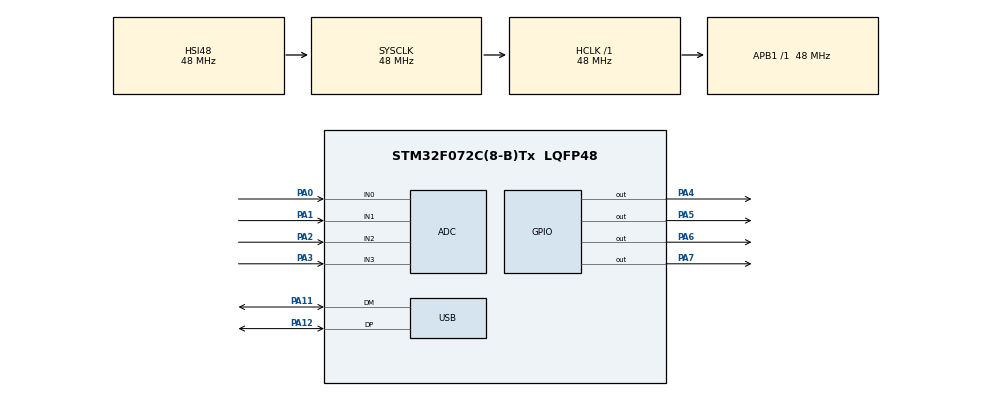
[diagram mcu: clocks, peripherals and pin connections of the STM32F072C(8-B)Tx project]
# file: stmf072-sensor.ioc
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ADC.DMAContinuousRequests=DISABLE
Dma.ADC.0.Direction=DMA_PERIPH_TO_MEMORY
Dma.ADC.0.Instance=DMA1_Channel2
Dma.ADC.0.MemDataAlignment=DMA_MDATAALIGN_HALFWORD
Dma.ADC.0.MemInc=DMA_MINC_ENABLE
Dma.ADC.0.Mode=DMA_CIRCULAR
Dma.ADC.0.PeriphDataAlignment=DMA_PDATAALIGN_HALFWORD
Dma.ADC.0.PeriphInc=DMA_PINC_DISABLE
Dma.ADC.0.Priority=DMA_PRIORITY_VERY_HIGH
Dma.Request0=ADC
Mcu.Family=STM32F0
Mcu.Name=STM32F072C(8-B)Tx
Mcu.Package=LQFP48
NVIC.DMA1_Channel2_3_IRQn=true\:0\:0\:false\:false\:true\:false\:true\:true
NVIC.USB_IRQn=true\:0\:0\:false\:false\:true\:false\:true\:true
PA0.Mode=IN0
PA0.Signal=ADC_IN0
PA1.Mode=IN1
PA1.Signal=ADC_IN1
PA11.Mode=Device
PA11.Signal=USB_DM
PA12.Mode=Device
PA12.Signal=USB_DP
PA2.Mode=IN2
PA2.Signal=ADC_IN2
PA3.Mode=IN3
PA3.Signal=ADC_IN3
PA4.Signal=GPIO_Output
PA5.Signal=GPIO_Output
PA6.Signal=GPIO_Output
PA7.Signal=GPIO_Output
ProjectManager.HeapSize=0x200
ProjectManager.StackSize=0x400
ProjectManager.TargetToolchain=STM32CubeIDE
RCC.AHBFreq_Value=48000000
RCC.APB1Freq_Value=48000000
RCC.APB1TimFreq_Value=48000000
RCC.HCLKFreq_Value=48000000
RCC.HSE_VALUE=12000000
RCC.PLLMUL=RCC_PLL_MUL6
RCC.SYSCLKFreq_VALUE=48000000
RCC.SYSCLKSource=RCC_SYSCLKSOURCE_HSI48
TIM2.AutoReloadPreload=TIM_AUTORELOAD_PRELOAD_ENABLE
TIM2.ClockDivision=TIM_CLOCKDIVISION_DIV4
TIM2.Period=0
USB_DEVICE.CLASS_NAME_FS=CDC
USB_DEVICE.USBD_MAX_STR_DESC_SIZ=1024
USB_DEVICE.VirtualMode=Cdc
USB_DEVICE.VirtualModeFS=Cdc_FS
VP_RCC_USB.Mode=CRS SYNC Source USB
VP_TIM2_VS_ClockSourceINT.Mode=Internal
VP_TIM2_VS_ClockSourceITR.Mode=TriggerSource_ITR0
VP_TIM2_VS_ControllerModeReset.Mode=Reset Mode
VP_USB_DEVICE_VS_USB_DEVICE_CDC_FS.Mode=CDC_FS
board=custom

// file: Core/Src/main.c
/* USER CODE BEGIN Header */
/**
 ******************************************************************************
 * @file           : main.c
 * @brief          : Main program body
 ******************************************************************************
 * @attention
 *
 * Copyright (c) 2024 STMicroelectronics.
 * All rights reserved.
 *
 * This software is licensed under terms that can be found in the LICENSE file
 * in the root directory of this software component.
 * If no LICENSE file comes with this software, it is provided AS-IS.
 *
 ******************************************************************************
 */
/* USER CODE END Header */
#include "main.h"
#include "usb_device.h"
#include "JSTime.h"
#include "MyCommand.h"

ADC_HandleTypeDef hadc;
DMA_HandleTypeDef hdma_adc;

TIM_HandleTypeDef htim2;

/* USER CODE BEGIN PV */
uint16_t adcBuffer[ADC_BUFFER_SIZE];
uint16_t adcBuffer1[ADC_BUFFER_SIZE];
/* USER CODE END PV */

void SystemClock_Config(void);
static void MX_GPIO_Init(void);
static void MX_DMA_Init(void);
static void MX_ADC_Init(void);
static void MX_TIM2_Init(void);
/* USER CODE BEGIN PFP */
static void task1();
/* USER CODE END PFP */

// 系统微秒计时
unsigned long micros()
{
  return TIM2->CNT;
}

int main(void)
{

  /* MCU Configuration--------------------------------------------------------*/

  /* Reset of all peripherals, Initializes the Flash interface and the Systick. */
  HAL_Init();

  /* Configure the system clock */
  SystemClock_Config();

  /* Initialize all configured peripherals */
  MX_DMA_Init();
  MX_ADC_Init();
  MX_GPIO_Init();
  MX_USB_DEVICE_Init();
  MX_TIM2_Init();
  /* USER CODE BEGIN 2 */
  // 启动 ADC 和 DMA
  HAL_Delay(100);
  if (HAL_ADC_Start_DMA(&hadc, (uint32_t *)adcBuffer, ADC_BUFFER_SIZE) != HAL_OK)
  {
    /* 启动错误处理 */
    Error_Handler();
  }
  HAL_Delay(100);
  /* USER CODE END 2 */

  /* Infinite loop */
  /* USER CODE BEGIN WHILE */
  JSTime_init();
  initSensor();
  // setInterval(task1, 1000);
  while (1)
  {
    if (HAL_ADC_Start_DMA(&hadc, (uint32_t *)adcBuffer, ADC_BUFFER_SIZE) != HAL_OK)
    {
      JSTime_refresh();
      /* 启动错误处理 */
      Error_Handler();
    }
    else
    {
      JSTime_refresh();
      loopSensor();
    }

    // JSTime_refresh();
    // loopSensor();
    /* USER CODE END WHILE */
  }
}

static void task1()
{
  // CDC_Transmit_FS("task1\n", 6);
  int adc = Read_ADC_Value(ADC_CHANNEL_4);
  char buffer[10];
  __itoa(adc, buffer, 10);
  uart1WriteBuf("\nADC0: ", 7);
  uart1WriteBuf(buffer, strlen(buffer));

  adc = Read_ADC_Value(ADC_CHANNEL_5);
  __itoa(adc, buffer, 10);
  uart1WriteBuf(" ADC1: ", 7);
  uart1WriteBuf(buffer, strlen(buffer));

  adc = Read_ADC_Value(ADC_CHANNEL_6);
  __itoa(adc, buffer, 10);
  uart1WriteBuf(" ADC3: ", 7);
  uart1WriteBuf(buffer, strlen(buffer));

  adc = Read_ADC_Value(ADC_CHANNEL_7);
  __itoa(adc, buffer, 10);
  uart1WriteBuf(" ADC4: ", 7);
  uart1WriteBuf(buffer, strlen(buffer));
}

void SystemClock_Config(void)
{
  RCC_OscInitTypeDef RCC_OscInitStruct = {0};
  RCC_ClkInitTypeDef RCC_ClkInitStruct = {0};
  RCC_PeriphCLKInitTypeDef PeriphClkInit = {0};
  RCC_CRSInitTypeDef RCC_CRSInitStruct = {0};

  /** Initializes the RCC Oscillators according to the specified parameters
   * in the RCC_OscInitTypeDef structure.
   */
  RCC_OscInitStruct.OscillatorType = RCC_OSCILLATORTYPE_HSI14 | RCC_OSCILLATORTYPE_HSI48;
  RCC_OscInitStruct.HSI48State = RCC_HSI48_ON;
  RCC_OscInitStruct.HSI14State = RCC_HSI14_ON;
  RCC_OscInitStruct.HSI14CalibrationValue = 16;
  RCC_OscInitStruct.PLL.PLLState = RCC_PLL_NONE;
  if (HAL_RCC_OscConfig(&RCC_OscInitStruct) != HAL_OK)
  {
    Error_Handler();
  }

  /** Initializes the CPU, AHB and APB buses clocks
   */
  RCC_ClkInitStruct.ClockType = RCC_CLOCKTYPE_HCLK | RCC_CLOCKTYPE_SYSCLK | RCC_CLOCKTYPE_PCLK1;
  RCC_ClkInitStruct.SYSCLKSource = RCC_SYSCLKSOURCE_HSI48;
  RCC_ClkInitStruct.AHBCLKDivider = RCC_SYSCLK_DIV1;
  RCC_ClkInitStruct.APB1CLKDivider = RCC_HCLK_DIV1;

  if (HAL_RCC_ClockConfig(&RCC_ClkInitStruct, FLASH_LATENCY_1) != HAL_OK)
  {
    Error_Handler();
  }
  PeriphClkInit.PeriphClockSelection = RCC_PERIPHCLK_USB;
  PeriphClkInit.UsbClockSelection = RCC_USBCLKSOURCE_HSI48;

  if (HAL_RCCEx_PeriphCLKConfig(&PeriphClkInit) != HAL_OK)
  {
    Error_Handler();
  }

  /** Enable the SYSCFG APB clock
   */
  __HAL_RCC_CRS_CLK_ENABLE();

  /** Configures CRS
   */
  RCC_CRSInitStruct.Prescaler = RCC_CRS_SYNC_DIV1;
  RCC_CRSInitStruct.Source = RCC_CRS_SYNC_SOURCE_USB;
  RCC_CRSInitStruct.Polarity = RCC_CRS_SYNC_POLARITY_RISING;
  RCC_CRSInitStruct.ReloadValue = __HAL_RCC_CRS_RELOADVALUE_CALCULATE(48000000, 1000);
  RCC_CRSInitStruct.ErrorLimitValue = 34;
  RCC_CRSInitStruct.HSI48CalibrationValue = 32;

  HAL_RCCEx_CRSConfig(&RCC_CRSInitStruct);
}

static void MX_ADC_Init(void)
{

  ADC_ChannelConfTypeDef sConfig = {0};

  /** Configure the global features of the ADC (Clock, Resolution, Data Alignment and number of conversion)
   */
  hadc.Instance = ADC1;
  hadc.Init.ClockPrescaler = ADC_CLOCK_ASYNC_DIV1;
  hadc.Init.Resolution = ADC_RESOLUTION_12B;
  hadc.Init.DataAlign = ADC_DATAALIGN_RIGHT;
  hadc.Init.ScanConvMode = ADC_SCAN_DIRECTION_FORWARD;
  hadc.Init.EOCSelection = ADC_EOC_SEQ_CONV;
  hadc.Init.LowPowerAutoWait = DISABLE;
  hadc.Init.LowPowerAutoPowerOff = DISABLE;
  hadc.Init.ContinuousConvMode = DISABLE;
  hadc.Init.DiscontinuousConvMode = DISABLE;
  hadc.Init.ExternalTrigConv = ADC_SOFTWARE_START;
  hadc.Init.ExternalTrigConvEdge = ADC_EXTERNALTRIGCONVEDGE_NONE;
  hadc.Init.DMAContinuousRequests = ENABLE;
  hadc.Init.Overrun = ADC_OVR_DATA_OVERWRITTEN;
  if (HAL_ADC_Init(&hadc) != HAL_OK)
  {
    Error_Handler();
  }

  /** Configure for the selected ADC regular channel to be converted.
   */
  sConfig.Channel = ADC_CHANNEL_2;
  sConfig.Rank = 0;
  sConfig.SamplingTime = ADC_SAMPLETIME_28CYCLES_5;
  if (HAL_ADC_ConfigChannel(&hadc, &sConfig) != HAL_OK)
  {
    Error_Handler();
  }

  // /** Configure for the selected ADC regular channel to be converted.
  //  */
  sConfig.Channel = ADC_CHANNEL_3;
  sConfig.Rank = 1;
  if (HAL_ADC_ConfigChannel(&hadc, &sConfig) != HAL_OK)
  {
    Error_Handler();
  }

  /** Configure for the selected ADC regular channel to be converted.
   */
  sConfig.Channel = ADC_CHANNEL_4;
  sConfig.Rank = 2;
  if (HAL_ADC_ConfigChannel(&hadc, &sConfig) != HAL_OK)
  {
    Error_Handler();
  }

  /** Configure for the selected ADC regular channel to be converted.
   */
  sConfig.Channel = ADC_CHANNEL_5;
  sConfig.Rank = 3;
  if (HAL_ADC_ConfigChannel(&hadc, &sConfig) != HAL_OK)
  {
    Error_Handler();
  }
}

static void MX_TIM2_Init(void)
{

  TIM_ClockConfigTypeDef sClockSourceConfig = {0};
  TIM_SlaveConfigTypeDef sSlaveConfig = {0};
  TIM_MasterConfigTypeDef sMasterConfig = {0};

  // 1us计时一次, 用于系统开机微秒计时
  htim2.Instance = TIM2;
  htim2.Init.Prescaler = 48 - 1;
  htim2.Init.CounterMode = TIM_COUNTERMODE_UP;
  htim2.Init.Period = 0xFFFFFFFF;
  htim2.Init.ClockDivision = TIM_CLOCKDIVISION_DIV1;
  htim2.Init.AutoReloadPreload = TIM_AUTORELOAD_PRELOAD_ENABLE;
  if (HAL_TIM_Base_Init(&htim2) != HAL_OK)
  {
    Error_Handler();
  }
  sClockSourceConfig.ClockSource = TIM_CLOCKSOURCE_INTERNAL;
  if (HAL_TIM_ConfigClockSource(&htim2, &sClockSourceConfig) != HAL_OK)
  {
    Error_Handler();
  }
  sSlaveConfig.SlaveMode = TIM_SLAVEMODE_RESET;
  sSlaveConfig.InputTrigger = TIM_TS_ITR0;
  if (HAL_TIM_SlaveConfigSynchro(&htim2, &sSlaveConfig) != HAL_OK)
  {
    Error_Handler();
  }
  sMasterConfig.MasterOutputTrigger = TIM_TRGO_RESET;
  sMasterConfig.MasterSlaveMode = TIM_MASTERSLAVEMODE_DISABLE;
  if (HAL_TIMEx_MasterConfigSynchronization(&htim2, &sMasterConfig) != HAL_OK)
  {
    Error_Handler();
  }
  /* USER CODE BEGIN TIM2_Init 2 */
  // 启动定时器
  HAL_TIM_Base_Start(&htim2);
  /* USER CODE END TIM2_Init 2 */
}

static void MX_DMA_Init(void)
{

  /* DMA controller clock enable */
  __HAL_RCC_DMA1_CLK_ENABLE();

  /* DMA interrupt init */
  /* DMA1_Channel1_IRQn interrupt configuration */
  HAL_NVIC_SetPriority(DMA1_Channel1_IRQn, 0, 0);
  HAL_NVIC_EnableIRQ(DMA1_Channel1_IRQn);

  hdma_adc.Instance = DMA1_Channel1;
  hdma_adc.Init.Direction = DMA_PERIPH_TO_MEMORY;
  hdma_adc.Init.PeriphInc = DMA_PINC_DISABLE;
  hdma_adc.Init.MemInc = DMA_MINC_ENABLE;
  hdma_adc.Init.PeriphDataAlignment = DMA_PDATAALIGN_HALFWORD;
  hdma_adc.Init.MemDataAlignment = DMA_MDATAALIGN_HALFWORD;
  hdma_adc.Init.Mode = DMA_CIRCULAR;
  hdma_adc.Init.Priority = DMA_PRIORITY_LOW;
  if (HAL_DMA_Init(&hdma_adc) != HAL_OK)
  {
    /* 初始化错误处理 */
    Error_Handler();
  }

  /* 将 DMA 句柄链接到 ADC 句柄 */
  __HAL_LINKDMA(&hadc, DMA_Handle, hdma_adc);
}

void DMA1_Channel1_IRQHandler(void)
{
  /* 处理 DMA 中断 */
  HAL_DMA_IRQHandler(&hdma_adc);
}

void HAL_ADC_ConvCpltCallback(ADC_HandleTypeDef *hadc)
{
  /* ADC 转换完成回调函数 */
  if (hadc->Instance == ADC1)
  {
  }
}

static void MX_GPIO_Init(void)
{
  GPIO_InitTypeDef GPIO_InitStruct = {0};

  /* GPIO Ports Clock Enable */
  __HAL_RCC_GPIOA_CLK_ENABLE();

  /*Configure GPIO pins : PA0 PA1 PA2 PA3 */
  GPIO_InitStruct.Pin = GPIO_PIN_0 | GPIO_PIN_1 | GPIO_PIN_6 | GPIO_PIN_7;
  GPIO_InitStruct.Mode = GPIO_MODE_OUTPUT_PP;
  GPIO_InitStruct.Pull = GPIO_NOPULL;
  GPIO_InitStruct.Speed = GPIO_SPEED_FREQ_LOW;
  HAL_GPIO_Init(GPIOA, &GPIO_InitStruct);

  /*Configure GPIO pin Output Level */
  HAL_GPIO_WritePin(GPIOA, GPIO_PIN_0 | GPIO_PIN_1 | GPIO_PIN_6 | GPIO_PIN_7, GPIO_PIN_RESET);
}

void Error_Handler(void)
{
  __disable_irq();
  while (1)
  {
  }
}
